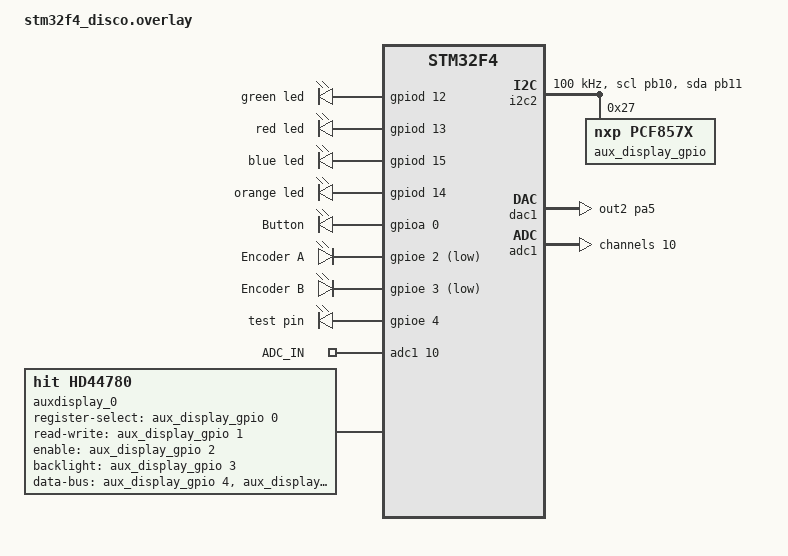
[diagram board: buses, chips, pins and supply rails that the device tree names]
#include "stm32f4_disco.dtsi"

&i2c2 {
	pinctrl-0 = <&i2c2_scl_pb10 &i2c2_sda_pb11>;
	pinctrl-names = "default";
	status = "okay";
	clock-frequency = <I2C_BITRATE_STANDARD>;
	aux_display_gpio: pcf8574@27 {
		compatible = "nxp,pcf857x";
		reg = <0x27>;
		gpio-controller;
		ngpios = <8>;
		#gpio-cells = <2>;
	};
};

&dac1 {
	pinctrl-0 = <&dac_out2_pa5>;
	pinctrl-names = "default";	
	status = "okay";
};

/ {
	gpios {
		compatible = "gpio-leds";
		led_green: led_green {
			gpios = <&gpiod 12 GPIO_ACTIVE_HIGH>;
			label = "green led";
		};
		led_red: led_red {
			gpios = <&gpiod 13 GPIO_ACTIVE_HIGH>;
			label = "red led";
		};		
		led_blue: led_blue {
			gpios = <&gpiod 15 GPIO_ACTIVE_HIGH>;
			label = "blue led";
		};				
		led_orange: led_orange {
			gpios = <&gpiod 14 GPIO_ACTIVE_HIGH>;
			label = "orange led";
		};		
		button: button {
			gpios = <&gpioa 0 (GPIO_PULL_DOWN | GPIO_ACTIVE_HIGH)>;
			label = "Button";
		};
		encoder_a: encoder_a {
			gpios = <&gpioe 2 (GPIO_PULL_UP | GPIO_ACTIVE_LOW)>;
			label = "Encoder A";
		};
		encoder_b: encoder_b {
			gpios = <&gpioe 3 (GPIO_PULL_UP | GPIO_ACTIVE_LOW)>;
			label = "Encoder B";
		};	
		test_pin: test_pin {
			gpios = <&gpioe 4 (GPIO_ACTIVE_HIGH)>;
			label = "test pin";
		};								
	};	
	zephyr,user {
		/* adjust channel number according to pinmux in board.dts */
		io-channels = <&adc1 10>;
		io-channel-names = "ADC_IN";

		dac = <&dac1>;
		dac-channel-id = <2>;
		dac-resolution = <12>;			
	};		
	auxdisplay_0: hd44780 {
		compatible = "hit,hd44780";
		columns = <16>;
		rows = <2>;
		mode = <4>;
		boot-delay-ms = <100>;
		register-select-gpios = <&aux_display_gpio 0 (GPIO_ACTIVE_HIGH)>;
		read-write-gpios    = <&aux_display_gpio 1 (GPIO_ACTIVE_HIGH)>;
		enable-gpios        = <&aux_display_gpio 2 (GPIO_ACTIVE_HIGH)>;
		backlight-gpios     = <&aux_display_gpio 3 (GPIO_ACTIVE_HIGH)>;
		data-bus-gpios      = <0>, <0>, <0>, <0>,
				<&aux_display_gpio 4 (GPIO_ACTIVE_HIGH)>,
				<&aux_display_gpio 5 (GPIO_ACTIVE_HIGH)>,
				<&aux_display_gpio 6 (GPIO_ACTIVE_HIGH)>,
				<&aux_display_gpio 7 (GPIO_ACTIVE_HIGH)>;
	};	
};

&adc1 {
	#address-cells = <1>;
	#size-cells = <0>;
 
	channel@10 {
		reg = <10>;
		zephyr,gain = "ADC_GAIN_1";
		zephyr,reference = "ADC_REF_INTERNAL";
		zephyr,acquisition-time = <ADC_ACQ_TIME_DEFAULT>;
		zephyr,resolution = <12>;
	};
};
